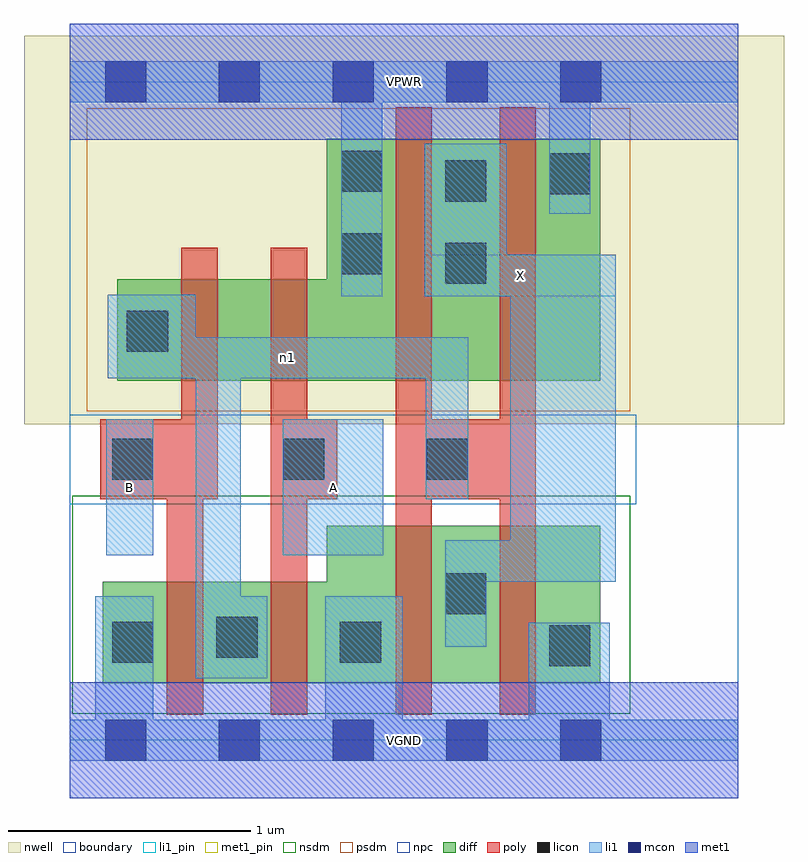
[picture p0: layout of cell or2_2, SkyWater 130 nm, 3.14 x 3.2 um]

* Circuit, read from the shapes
.subckt or2_2 A B VGND VPWR X n1
XM1 n1 B VGND VSUBS sky130_fd_pr__nfet_01v8 w=0.42 l=0.15
XM2 VGND A n1 VSUBS sky130_fd_pr__nfet_01v8 w=0.42 l=0.15
XM3 X n1 VGND VSUBS sky130_fd_pr__nfet_01v8 w=0.65 l=0.15 m=2
XM4 n2 B n1 n3 sky130_fd_pr__pfet_01v8 w=0.42 l=0.15
XM5 VPWR A n2 n3 sky130_fd_pr__pfet_01v8 w=0.42 l=0.15
XM6 X n1 VPWR n3 sky130_fd_pr__pfet_01v8 w=1 l=0.15 m=2
.ends

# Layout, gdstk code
import gdstk
lib = gdstk.Library(unit=1e-6, precision=1e-09)
def R(c, l, rs):  # rectangles x0, y0, x1, y1
    for r in rs: c.add(gdstk.rectangle(r[:2], r[2:], *l))
def A(c, l, x, y, w, h, nx, ny, dx, dy):  # array of equal rectangles
    R(c, l, [(x+i*dx, y+j*dy, x+i*dx+w, y+j*dy+h) for i in range(nx) for j in range(ny)])
nwell = (64, 20)
diff = (65, 20)
poly = (66, 20)
licon = (66, 44)
li1_pin = (67, 16)
li1 = (67, 20)
mcon = (67, 44)
met1_pin = (68, 16)
met1 = (68, 20)
nsdm = (93, 44)
psdm = (94, 20)
npc = (95, 20)
boundary = (235, 4)

or2_2 = lib.new_cell('or2_2')
R(or2_2, nwell, [(-0.19,1.305,2.95,2.91), (0,1.305,2.76,2.91)])
R(or2_2, diff, [(0.135,0.235,2.19,0.655), (1.06,0.235,2.19,0.885), (0.195,1.485,2.19,1.905), (1.06,1.485,2.19,2.485)])
R(or2_2, poly, [(0.4,0.105,0.55,1.325), (0.83,0.105,0.98,2.035), (1.345,0.105,1.495,2.615), (1.775,0.105,1.925,2.615), (0.125,0.995,0.61,1.325), (0.46,0.995,0.61,2.035), (0.83,0.995,1.105,1.325), (1.345,0.995,1.925,1.325)])
R(or2_2, licon, [(1.98,0.305,2.15,0.475), (0.175,0.32,0.345,0.49), (1.115,0.32,1.285,0.49), (0.605,0.34,0.775,0.51), (1.55,0.52,1.72,0.69), (0.175,1.075,0.345,1.245), (0.88,1.075,1.05,1.245), (1.475,1.075,1.645,1.245), (0.235,1.605,0.405,1.775), (1.55,1.885,1.72,2.055), (1.12,1.925,1.29,2.095), (1.55,2.225,1.72,2.395), (1.98,2.255,2.15,2.425), (1.12,2.265,1.29,2.435)])
R(or2_2, li1_pin, [(0.15,0.765,0.345,1.325), (0.88,0.765,1.295,1.325), (1.465,1.835,2.255,2.005)])
R(or2_2, li1, [(0,-0.085,2.76,0.085), (0.105,-0.085,0.345,0.595), (1.055,-0.085,1.375,0.595), (1.895,-0.085,2.23,0.485), (0.52,0.255,0.705,1.665), (0.52,0.255,0.815,0.595), (1.55,0.385,1.72,0.825), (1.55,0.655,2.255,0.825), (1.82,0.655,2.255,2.005), (0.15,0.765,0.345,1.325), (0.88,0.765,1.295,1.325), (1.47,0.995,1.645,1.665), (0.155,1.495,1.645,1.665), (0.155,1.495,0.52,1.84), (1.12,1.835,1.29,2.805), (1.465,1.835,1.805,2.465), (1.465,1.835,2.255,2.005), (1.98,2.175,2.15,2.805), (0,2.635,2.76,2.805)])
A(or2_2, mcon, 0.145, -0.085, 0.17, 0.17, 5, 2, 0.47, 2.72)
R(or2_2, met1_pin, [(0,-0.24,2.76,0.24), (0,2.48,2.76,2.96)])
R(or2_2, met1, [(0,-0.24,2.76,0.24), (0,2.48,2.76,2.96)])
R(or2_2, nsdm, [(0.01,0.11,2.315,1.01)])
R(or2_2, psdm, [(0.07,1.36,2.315,2.61)])
R(or2_2, npc, [(0,0.975,2.34,1.345)])
R(or2_2, boundary, [(0,0,2.76,2.72)])
or2_2.add(gdstk.Label('A', (1.087,1.045), layer=67, texttype=5))
or2_2.add(gdstk.Label('B', (0.247,1.045), layer=67, texttype=5))
or2_2.add(gdstk.Label('X', (1.86,1.92), layer=67, texttype=5))
or2_2.add(gdstk.Label('n1', (0.9,1.58), layer=67, texttype=5))
or2_2.add(gdstk.Label('VPWR', (1.38,2.72), layer=68, texttype=5))
or2_2.add(gdstk.Label('VGND', (1.38,0), layer=68, texttype=5))
or2_2.add(gdstk.Label('A', (1.087,1.045), layer=67, texttype=16))
or2_2.add(gdstk.Label('B', (0.247,1.045), layer=67, texttype=16))
or2_2.add(gdstk.Label('X', (1.86,1.92), layer=67, texttype=16))
or2_2.add(gdstk.Label('VPWR', (1.38,2.72), layer=68, texttype=16))
or2_2.add(gdstk.Label('VGND', (1.38,0), layer=68, texttype=16))

lib.write_gds('or2_2.gds')
